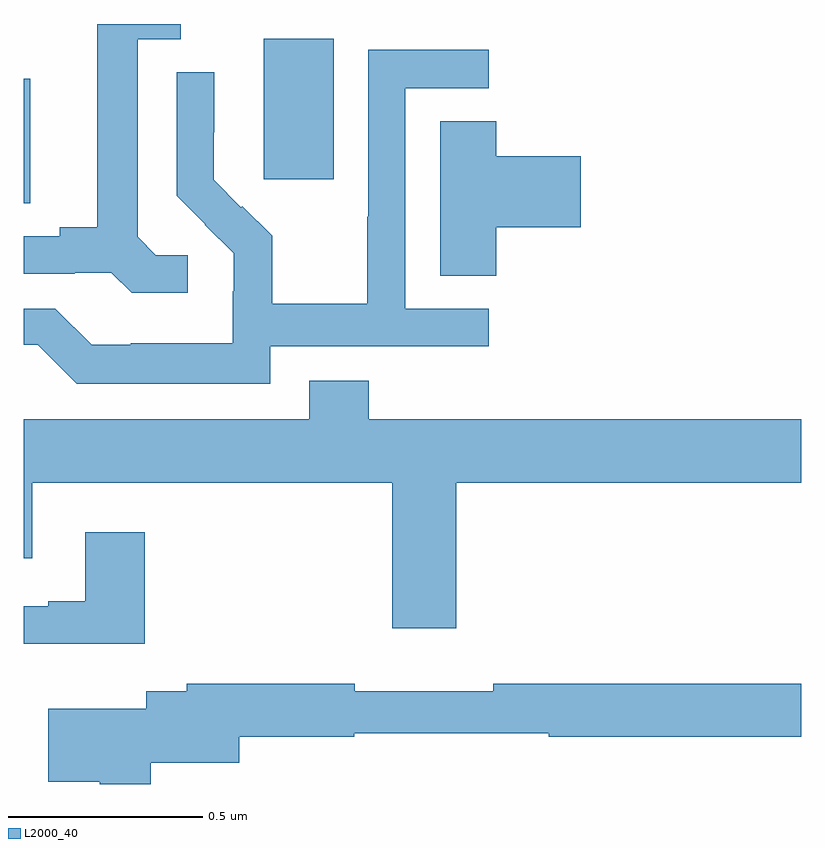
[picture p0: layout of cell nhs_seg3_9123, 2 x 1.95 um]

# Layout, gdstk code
import gdstk
lib = gdstk.Library(unit=1e-6, precision=1e-09)
def R(c, l, rs):  # rectangles x0, y0, x1, y1
    for r in rs: c.add(gdstk.rectangle(r[:2], r[2:], *l))
def P(c, l, *ps):  # polygons
    for p in ps: c.add(gdstk.Polygon(p, *l))
L2000_40 = (2000, 40)

nhs_seg3_9123 = lib.new_cell('nhs_seg3_9123')
R(nhs_seg3_9123, L2000_40, [(224,730.939,224.017,731.259), (224.618,731.001,224.797,731.362)])
P(nhs_seg3_9123, L2000_40, [(224.422,730.806),(224.34,730.806),(224.293,730.853),(224.293,731.361),(224.404,731.361),(224.404,731.4),(224.189,731.4),(224.189,730.877),(224.093,730.877),(224.093,730.854),(224,730.854),(224,730.758),(224.132,730.758),(224.132,730.761),(224.226,730.761),(224.278,730.709),(224.422,730.709)],
  [(224.634,730.572),(225.196,730.572),(225.196,730.668),(224.982,730.668),(224.982,731.235),(225.196,731.235),(225.196,731.334),(224.886,731.334),(224.886,730.904),(224.884,730.904),(224.884,730.681),(224.639,730.681),(224.639,730.855),(224.562,730.932),(224.559,730.929),(224.489,731),(224.489,731.122),(224.49,731.122),(224.49,731.276),(224.394,731.276),(224.394,730.958),(224.467,730.885),(224.466,730.884),(224.54,730.81),(224.54,730.713),(224.538,730.713),(224.538,730.579),(224.275,730.579),(224.275,730.575),(224.175,730.575),(224.082,730.668),(224,730.668),(224,730.575),(224.037,730.575),(224.137,730.475),(224.634,730.475)],
  [(225.215,730.877),(225.433,730.877),(225.433,731.06),(225.215,731.06),(225.215,731.15),(225.071,731.15),(225.071,730.753),(225.215,730.753)],
  [(225.112,730.22),(226,730.22),(226,730.384),(224.888,730.384),(224.888,730.483),(224.735,730.483),(224.735,730.384),(224,730.384),(224,730.026),(224.023,730.026),(224.023,730.22),(224.948,730.22),(224.948,729.846),(225.112,729.846)],
  [(224.312,730.093),(224.159,730.093),(224.159,729.916),(224.063,729.916),(224.063,729.903),(224,729.903),(224,729.806),(224.312,729.806)],
  [(224.327,729.5),(224.554,729.5),(224.554,729.568),(224.85,729.568),(224.85,729.576),(225.35,729.576),(225.35,729.568),(226,729.568),(226,729.704),(225.208,729.704),(225.208,729.685),(224.852,729.685),(224.852,729.704),(224.419,729.704),(224.419,729.685),(224.315,729.685),(224.315,729.64),(224.063,729.64),(224.063,729.452),(224.196,729.452),(224.196,729.446),(224.327,729.446)])

lib.write_gds('nhs_seg3_9123.gds')
